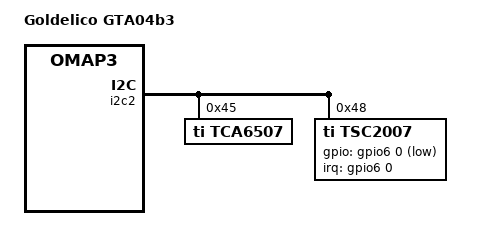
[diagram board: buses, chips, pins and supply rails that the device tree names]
/*
 * Copyright (C) 2014 H. Nikolaus Schaller <hns@goldelico.com>
 *
 * This program is free software; you can redistribute it and/or modify
 * it under the terms of the GNU General Public License version 2 as
 * published by the Free Software Foundation.
 */

/*
 * device tree for GTA04b3 (Letux 7004)
 */

/* we start with the omap3-gta04 tree and modify only what is really different */

#include "omap3-gta04.dts"

/ {

	/* overwrite device model */
	model = "Goldelico GTA04b3";

	/* add additional regulators etc. */

};

/*
&dpi1 {
	// define dpi panel

	lcd {
		compatible = "sharp,l???";
		// define parameters
		// and control GPIOs
	.pixelclock	= { 0, 33260000, 0 },

	.hactive = { 0, 800, 0 },
	.hfront_porch = { 0, 64, 0 },
	.hback_porch = { 0, 64, 0 },
	.hsync_len = { 0, 128, 0 },

	.vactive = { 0, 480, 0 },
	.vfront_porch = { 0, 8, 0 },
	.vback_porch = { 0, 35, 0 },
	.vsync_len = { 0, 2, 0 },

	.flags = DISPLAY_FLAGS_HSYNC_LOW | DISPLAY_FLAGS_VSYNC_LOW |
			DISPLAY_FLAGS_DE_HIGH | DISPLAY_FLAGS_PIXDATA_POSEDGE,
	.enable_gpio = 12,	/* 3.3V LDO controlled through McBSP5-CLKX of GTA04 * /
	};
};
*/

// MADC battery capacity = 3900000;

/* FIXME: handle optional USB Host output */

&i2c2 {
	/* we have a different set of LEDs */
	tca6507@45 {
		compatible = "ti,tca6507";
		#address-cells = <1>;
		#size-cells = <0>;
		reg = <0x45>;

/* FIXME */

		gta04_led0: red_aux@0 {
			label = "gta04:red:aux";
			reg = <0x0>;
		};

		gta04_led1: green_aux@1 {
			label = "gta04:green:aux";
			reg = <0x1>;
		};

		gta04_led3: red_power@3 {
			label = "gta04:red:power";
			reg = <0x3>;
			linux,default-trigger = "default-on";
		};

		gta04_led4: green_power@4 {
			label = "gta04:green:power";
			reg = <0x4>;
		};
	};

	/* touchscreen */
	tsc2007@48 {
		compatible = "ti,tsc2007";
		reg = <0x48>;
		interrupt-parent = <&gpio6>;
		interrupts = <0 IRQ_TYPE_EDGE_FALLING>;
		gpios = <&gpio6 0 GPIO_ACTIVE_LOW>;
		ti,x-plate-ohms = <450>;
		ti,rng_x = <123 456>;
		ti,rng_y = <123 456>;
		ti,rng_z = <123 456>;
		ti,flip_x = <0>;
		ti,flip_y = <0>;
		ti,swap_xy = <1>;
	};

};
